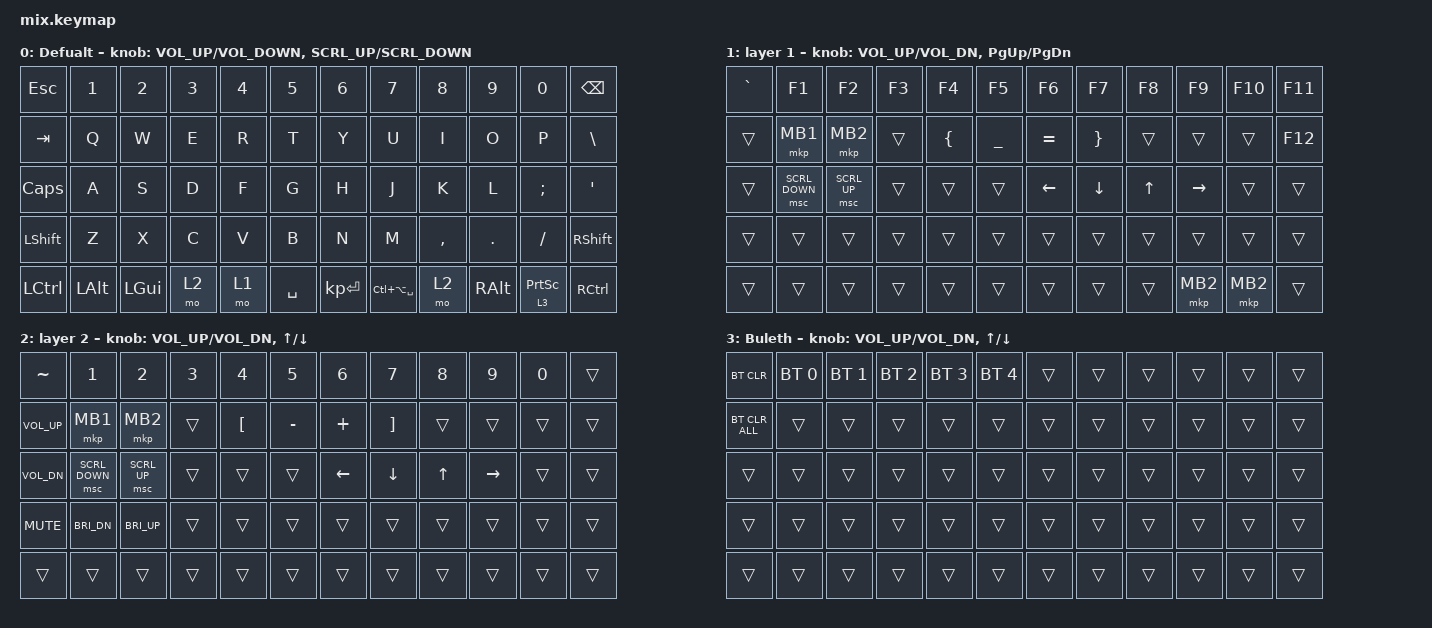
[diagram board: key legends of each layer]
/*
 * Copyright (c) 2020 The ZMK Contributors
 *
 * SPDX-License-Identifier: MIT
 */

#include <behaviors.dtsi>
#include <dt-bindings/zmk/bt.h>
#include <dt-bindings/zmk/keys.h>
#include <dt-bindings/zmk/pointing.h>

#define ZMK_POINTING_DEFAULT_SCRL_VAL 40

/ {
    combos {
        compatible = "zmk,combos";

        boot {
            bindings = <&bootloader>;
            key-positions = <0 11 54 53>;
        };
    };

    behaviors {
        encoder_sc: encoder_sc {
            compatible = "zmk,behavior-sensor-rotate-var";
            label = "ENCODER_SC";
            #sensor-binding-cells = <2>;
            bindings = <&msc>, <&msc>;

            tap-ms = <40>;
        };
    };

    keymap {
        compatible = "zmk,keymap";

        LAYER0 {
            display-name = "Defualt";
            bindings = <
&kp ESCAPE  &kp N1    &kp N2    &kp N3  &kp N4  &kp N5     &kp N6        &kp N7             &kp N8     &kp N9    &kp N0         &kp BSPC
&kp TAB     &kp Q     &kp W     &kp E   &kp R   &kp T      &kp Y         &kp U              &kp I      &kp O     &kp P          &kp BSLH
&kp CAPS    &kp A     &kp S     &kp D   &kp F   &kp G      &kp H         &kp J              &kp K      &kp L     &kp SEMICOLON  &kp SQT
&kp LSHFT   &kp Z     &kp X     &kp C   &kp V   &kp B      &kp N         &kp M              &kp COMMA  &kp DOT   &kp FSLH       &kp RSHFT
&kp LCTRL   &kp LALT  &kp LGUI  &mo 2   &mo 1   &kp SPACE  &kp KP_ENTER  &kp LC(LA(SPACE))  &mo 2      &kp RALT  &lt 3 PSCRN    &kp RCTRL
            >;

            sensor-bindings =
                <&inc_dec_kp C_VOLUME_UP C_VOLUME_DOWN>,
                <&encoder_sc SCRL_UP SCRL_DOWN>;
        };

        LAYER1 {
            display-name = "layer 1";
            bindings = <
&kp GRAVE  &kp F1          &kp F2        &kp F3  &kp F4          &kp F5          &kp F6     &kp F7           &kp F8  &kp F9     &kp F10   &kp F11
&trans     &mkp MB1        &mkp MB2      &trans  &kp LEFT_BRACE  &kp UNDERSCORE  &kp EQUAL  &kp RIGHT_BRACE  &trans  &trans     &trans    &kp F12
&trans     &msc SCRL_DOWN  &msc SCRL_UP  &trans  &trans          &trans          &kp LEFT   &kp DOWN         &kp UP  &kp RIGHT  &trans    &trans
&trans     &trans          &trans        &trans  &trans          &trans          &trans     &trans           &trans  &trans     &trans    &trans
&trans     &trans          &trans        &trans  &trans          &trans          &trans     &trans           &trans  &mkp MB2   &mkp MB2  &trans
            >;

            sensor-bindings = <&inc_dec_kp C_VOL_UP C_VOL_DN &inc_dec_kp PG_UP PG_DN>;
        };

        LAYER2 {
            display-name = "layer 2";
            bindings = <
&kp TILDE     &kp N1          &kp N2        &kp N3  &kp N4            &kp N5     &kp N6          &kp N7             &kp N8        &kp N9     &kp N0  &trans
&kp C_VOL_UP  &mkp MB1        &mkp MB2      &trans  &kp LEFT_BRACKET  &kp MINUS  &kp PLUS        &kp RIGHT_BRACKET  &trans        &trans     &trans  &trans
&kp C_VOL_DN  &msc SCRL_DOWN  &msc SCRL_UP  &trans  &trans            &trans     &kp LEFT_ARROW  &kp DOWN           &kp UP_ARROW  &kp RIGHT  &trans  &trans
&kp C_MUTE    &kp C_BRI_DN    &kp C_BRI_UP  &trans  &trans            &trans     &trans          &trans             &trans        &trans     &trans  &trans
&trans        &trans          &trans        &trans  &trans            &trans     &trans          &trans             &trans        &trans     &trans  &trans
            >;

            sensor-bindings =
                <&inc_dec_kp C_VOL_UP C_VOL_DN>,
                <&inc_dec_kp UP_ARROW DOWN>;
        };

        LAYER3 {
            display-name = "Buleth";
            bindings = <
&bt BT_CLR      &bt BT_SEL 0  &bt BT_SEL 1  &bt BT_SEL 2  &bt BT_SEL 3  &bt BT_SEL 4  &trans  &trans  &trans  &trans  &trans  &trans
&bt BT_CLR_ALL  &trans        &trans        &trans        &trans        &trans        &trans  &trans  &trans  &trans  &trans  &trans
&trans          &trans        &trans        &trans        &trans        &trans        &trans  &trans  &trans  &trans  &trans  &trans
&trans          &trans        &trans        &trans        &trans        &trans        &trans  &trans  &trans  &trans  &trans  &trans
&trans          &trans        &trans        &trans        &trans        &trans        &trans  &trans  &trans  &trans  &trans  &trans
            >;

            sensor-bindings =
                <&inc_dec_kp C_VOL_UP C_VOL_DN>,
                <&inc_dec_kp UP_ARROW DOWN_ARROW>;
        };
    };
};
